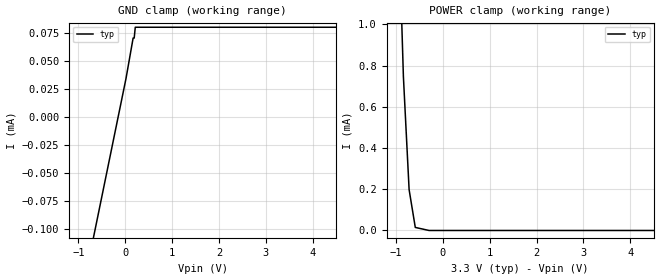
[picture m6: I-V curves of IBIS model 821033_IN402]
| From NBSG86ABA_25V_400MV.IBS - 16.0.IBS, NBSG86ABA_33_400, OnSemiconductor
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| COPYRIGHT(C) MENTOR GRAPHICS CORPORATION 2002 ALL
| RIGHTS RESERVED. THIS WORK CONTAINS PROPRIETARY
| INFORMATION WHICH IS THE PROPERTY OF MENTOR GRAPHICS
| CORPORATION OR ITS LICENSORS. USE OF THESE MATERIALS
| IS SUBJECT TO THE TERMS BELOW.
| USE: MENTOR GRAPHICS HAS LICENSED IBIS MODELS TO
| SPECIFIC INTEGRATED CIRCUIT SUPPLIERS ("IC VENDORS")
| FOR USE AND DISTRIBUTION AS FOLLOWS: EACH IC VENDOR
| MAY USE IBIS MODELS, AND DISTRIBUTE THEM TO IC VENDOR'S
| CUSTOMERS TO USE, SOLELY FOR DEVELOPING PRINTED
| CIRCUIT BOARD DESIGNS. NO OTHER USE OR DISTRIBUTION
| OF THESE MATERIALS IS PERMITTED.
| Model Application Version 1.89 2/18/99.
[Model] 821033_IN402
Model_type Input_ECL
Vinl = 1.575V
Vinh = 1.725V
C_comp 500.0fF NA NA
| variable typ   min   max
[Voltage Range] 3.300V NA NA
[GND Clamp Reference] 0.000V NA NA
[POWER Clamp Reference] 3.300V NA NA
[GND Clamp]
-3.3V     -643.8uA   NA         NA
15.48mV   34.45uA    NA         NA
167.4mV   70.55uA    NA         NA
190.2mV   70.55uA    NA         NA
213.1mV   80.17uA    NA         NA
6.6V      80.17uA    NA         NA
[POWER Clamp]
-3.3V     19.1mA     NA         NA
-840mV    746.3uA    NA         NA
-718.4mV  198.4uA    NA         NA
-586.5mV  14.8uA     NA         NA
-293.2mV  0A         NA         NA
6.6V      0A         NA         NA
